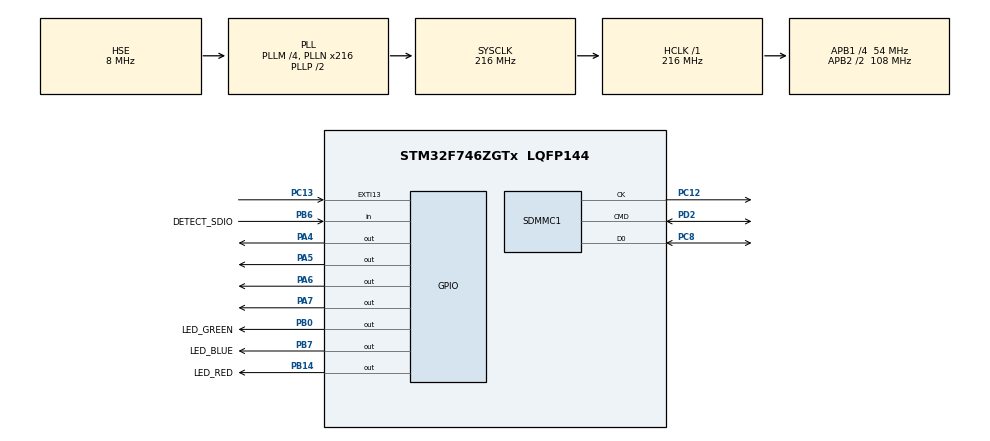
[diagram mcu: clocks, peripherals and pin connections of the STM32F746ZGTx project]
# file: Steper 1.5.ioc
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CORTEX_M7.CPU_DCache=Enabled
CORTEX_M7.CPU_ICache=Enabled
FATFS.BSP.number=1
FATFS0.BSP.STBoard=false
FATFS0.BSP.api=Unknown
FATFS0.BSP.i2caddr=0
FATFS0.BSP.instance=PB6
FATFS0.BSP.ip=GPIO
FATFS0.BSP.mode=Input
FATFS0.BSP.name=Detect_SDIO
FATFS0.BSP.solution=PB6
Mcu.Family=STM32F7
Mcu.Name=STM32F746ZGTx
Mcu.Package=LQFP144
NVIC.EXTI15_10_IRQn=true\:0\:0\:false\:false\:true\:true\:true
NVIC.PriorityGroup=NVIC_PRIORITYGROUP_4
PA13.Mode=Serial_Wire
PA13.Signal=SYS_JTMS-SWDIO
PA14.Mode=Serial_Wire
PA14.Signal=SYS_JTCK-SWCLK
PA4.Signal=GPIO_Output
PA5.Signal=GPIO_Output
PA6.Signal=GPIO_Output
PA7.Signal=GPIO_Output
PB0.GPIO_Label=LED_GREEN
PB0.Signal=GPIO_Output
PB14.GPIO_Label=LED_RED
PB14.Signal=GPIO_Output
PB6.GPIO_Label=DETECT_SDIO
PB6.Signal=GPIO_Input
PB7.GPIO_Label=LED_BLUE
PB7.Signal=GPIO_Output
PC12.Mode=SD_1_bit
PC12.Signal=SDMMC1_CK
PC13.GPIO_ModeDefaultEXTI=GPIO_MODE_IT_RISING_FALLING
PC13.Signal=GPXTI13
PC8.Mode=SD_1_bit
PC8.Signal=SDMMC1_D0
PD2.Mode=SD_1_bit
PD2.Signal=SDMMC1_CMD
PH0/OSC_IN.Mode=HSE-External-Oscillator
PH0/OSC_IN.Signal=RCC_OSC_IN
PH1/OSC_OUT.Mode=HSE-External-Oscillator
PH1/OSC_OUT.Signal=RCC_OSC_OUT
ProjectManager.HeapSize=0x200
ProjectManager.StackSize=0x400
ProjectManager.TargetToolchain=MDK-ARM V5.27
RCC.AHBFreq_Value=216000000
RCC.APB1CLKDivider=RCC_HCLK_DIV4
RCC.APB1Freq_Value=54000000
RCC.APB1TimFreq_Value=108000000
RCC.APB2CLKDivider=RCC_HCLK_DIV2
RCC.APB2Freq_Value=108000000
RCC.APB2TimFreq_Value=216000000
RCC.CortexFreq_Value=216000000
RCC.HCLKFreq_Value=216000000
RCC.HSE_VALUE=8000000
RCC.HSI_VALUE=16000000
RCC.LSE_VALUE=32768
RCC.PLLM=4
RCC.PLLN=216
RCC.PLLQ=9
RCC.PLLSourceVirtual=RCC_PLLSOURCE_HSE
RCC.SDMMCClockSelection=RCC_SDMMC1CLKSOURCE_CLK48
RCC.SYSCLKFreq_VALUE=216000000
RCC.SYSCLKSource=RCC_SYSCLKSOURCE_PLLCLK
RCC.USBFreq_Value=48000000
RCC.VCOOutputFreq_Value=432000000
TIM1.Period=0xFFFF-1
TIM1.Prescaler=215
VP_FATFS_VS_SDIO.Mode=SDIO
VP_TIM1_VS_ClockSourceINT.Mode=Internal
board=custom

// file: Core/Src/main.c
/* USER CODE BEGIN Header */
/**
  ******************************************************************************
  * @file           : main.c
  * @brief          : Main program body
  ******************************************************************************
  * @attention
  *
  * <h2><center>&copy; Copyright (c) 2020 STMicroelectronics.
  * All rights reserved.</center></h2>
  *
  * This software component is licensed by ST under Ultimate Liberty license
  * SLA0044, the "License"; You may not use this file except in compliance with
  * the License. You may obtain a copy of the License at:
  *                             www.st.com/SLA0044
  *
  ******************************************************************************

	IN stm32f7xx_ll_sdmmc.c line 318 changed.
  */
/* USER CODE END Header */
#include "main.h"
#include "fatfs.h"
#include "stdio.h"
#include "stdlib.h"

/* USER CODE BEGIN PD */
#define BUFFSIZE       250
#define PROCESSSIZE    50
#define ReadBuffSize   10000
/* USER CODE END PD */

SD_HandleTypeDef hsd1;

TIM_HandleTypeDef htim1;

/* USER CODE BEGIN PV */
FATFS MyFatfs;
FIL MyFile1, MyFile2;
FRESULT FR1, FR2 ,FR3;
UINT ByteCount;

int Start = 1 ,UserKey = 0, j = 0;
int EndReadStep = 0, LoopStepEnd = 48, ProcessStep, ProcessIND, BUFFIND, EndProcessStep, i;

uint8_t BUFF[100000] = {5}, Process[25000] = {5}, ReadBuff[25000] = {5}, GetSize[2] = {5}, FileSize, ReadStep, LoopStep;
uint32_t OFS1 = 0, OFS2 = 0;
/* USER CODE END PV */

void SystemClock_Config(void);
static void MX_GPIO_Init(void);
static void MX_SDMMC1_SD_Init(void);
static void MX_TIM1_Init(void);
/* USER CODE BEGIN PFP */
void delay_us(uint16_t us);
/* USER CODE END PFP */

int main(void)
{

  /* Enable I-Cache---------------------------------------------------------*/
  SCB_EnableICache();

  /* Enable D-Cache---------------------------------------------------------*/
  SCB_EnableDCache();

  /* MCU Configuration--------------------------------------------------------*/

  /* Reset of all peripherals, Initializes the Flash interface and the Systick. */
  HAL_Init();

  /* Configure the system clock */
  SystemClock_Config();

  /* Initialize all configured peripherals */
  MX_GPIO_Init();
  MX_SDMMC1_SD_Init();
  MX_FATFS_Init();
  MX_TIM1_Init();
  /* USER CODE BEGIN 2 */
	HAL_SuspendTick();
  HAL_TIM_Base_Start(&htim1);

	HAL_SD_Init(&hsd1);

  FR3 = f_mount(&MyFatfs, SDPath, 0);

	FR1 = f_open(&MyFile1, "CODE.txt", FA_READ | FA_OPEN_ALWAYS);
	FR2 = f_open(&MyFile2, "STM32.txt", FA_WRITE | FA_CREATE_ALWAYS);
	if (FR1 == FR_OK) HAL_GPIO_WritePin(GPIOB, LED_GREEN_Pin, GPIO_PIN_SET);

	OFS1 = 0;
	OFS2 = 0;

	f_lseek(&MyFile1, OFS1);
	f_read(&MyFile1, GetSize, sizeof(GetSize), &ByteCount);
	OFS1 += 2;

	GetSize[0] = GetSize[0] - 48;
	GetSize[1] = GetSize[1] - 48;
	FileSize = 10*GetSize[0] + GetSize[1] - 1;

	for (ReadStep = 0; ReadStep <= FileSize; ReadStep++)
	{
		HAL_GPIO_TogglePin(GPIOB, LED_BLUE_Pin);
	  f_lseek(&MyFile1, OFS1);
	  f_read(&MyFile1, BUFF, sizeof(BUFF), &ByteCount);
	  OFS1 += 100000;

	  ProcessIND = 0;
		BUFFIND = 0;

	  for (ProcessStep = 0; ProcessStep <= 24999; ProcessStep++)
	  {
	    if (BUFF[BUFFIND] == 49 && BUFF[BUFFIND + 1] == 48 && BUFF[BUFFIND+ 2] == 49 && BUFF[BUFFIND + 3] == 48)
	    {
		    Process[ProcessIND] = 1;
		  	ProcessIND = ProcessIND + 1;
	      BUFFIND = BUFFIND + 4;
      }

	    if (BUFF[BUFFIND] == 48 && BUFF[BUFFIND + 1] == 49 && BUFF[BUFFIND + 2] == 48 && BUFF[BUFFIND + 3] == 49)
	    {
	    	Process[ProcessIND] = 5;
		  	ProcessIND = ProcessIND + 1;
	      BUFFIND = BUFFIND + 4;
      }

	    if (BUFF[BUFFIND] == 48 && BUFF[BUFFIND + 1] == 48 && BUFF[BUFFIND + 2] == 48 && BUFF[BUFFIND + 3] == 48)
	    {
	    	Process[ProcessIND] = 9;
		  	ProcessIND = ProcessIND + 1;
	      BUFFIND = BUFFIND + 4;
	    }

	    if (BUFF[BUFFIND] == 49 && BUFF[BUFFIND + 1] == 48 && BUFF[BUFFIND + 2] == 48 && BUFF[BUFFIND + 3] == 49)
	    {
	    	Process[ProcessIND] = 2;
		  	ProcessIND = ProcessIND + 1;
	      BUFFIND = BUFFIND + 4;
	    }

	    if (BUFF[BUFFIND] == 49 && BUFF[BUFFIND + 1] == 48 && BUFF[BUFFIND + 2] == 48 && BUFF[BUFFIND + 3] == 48)
	    {
	    	Process[ProcessIND] = 3;
        ProcessIND = ProcessIND + 1;
	      BUFFIND = BUFFIND + 4;
	    }

	    if (BUFF[BUFFIND] == 48 && BUFF[BUFFIND + 1] == 49 && BUFF[BUFFIND + 2] == 49 && BUFF[BUFFIND + 3] == 48)
	    {
	    	Process[ProcessIND] = 4;
		  	ProcessIND = ProcessIND + 1;
	      BUFFIND = BUFFIND + 4;
	    }

	    if (BUFF[BUFFIND] == 48 && BUFF[BUFFIND + 1] == 49 && BUFF[BUFFIND + 2] == 48 && BUFF[BUFFIND + 3] == 48)
	    {
	    	Process[ProcessIND] = 6;
		  	ProcessIND = ProcessIND + 1;
	      BUFFIND = BUFFIND + 4;
      }

	    if (BUFF[BUFFIND] == 48 && BUFF[BUFFIND + 1] == 48 && BUFF[BUFFIND + 2] == 49 && BUFF[BUFFIND + 3] == 48)
	    {
	    	Process[ProcessIND] = 7;
		  	ProcessIND = ProcessIND + 1;
	      BUFFIND = BUFFIND + 4;
	    }

	    if (BUFF[BUFFIND] == 48 && BUFF[BUFFIND + 1] == 48 && BUFF[BUFFIND + 2] == 48 && BUFF[BUFFIND + 3] == 49)
	    {
	    	Process[ProcessIND] = 8;
		  	ProcessIND = ProcessIND + 1;
	      BUFFIND = BUFFIND + 4;
	    }

			//if (BUFF[BUFFIND] != 48 || BUFF[BUFFIND] != 49)
			//{
			//	Process[ProcessIND] = 9;
		  //	ProcessIND = ProcessIND + 1;
	     // BUFFIND = BUFFIND + 4;
			//}
    }

	  f_lseek(&MyFile2, OFS2);
	  f_write(&MyFile2, Process, sizeof(Process), &ByteCount);
	  OFS2 += 25000;
  }

	f_close(&MyFile1);
	f_close(&MyFile2);
	HAL_GPIO_WritePin(GPIOB, LED_RED_Pin, GPIO_PIN_SET);
	delay_us(60000);

	FR2 = f_open(&MyFile2, "STM32.txt", FA_READ | FA_OPEN_ALWAYS);
	OFS2 = 0;
  /* USER CODE END 2 */

  /* Infinite loop */
  /* USER CODE BEGIN WHILE */
  while (1)
	{
		if (Start)
		{
		  for (LoopStep = 0; LoopStep <= FileSize; LoopStep++)
		  {
			  f_lseek(&MyFile2, OFS2);
		  	f_read(&MyFile2, ReadBuff, sizeof(ReadBuff), &ByteCount);
		  	OFS2 = OFS2 + 25000;

		  	for (i = 0; i <= 24999; i++)
			  {
		      switch (ReadBuff[i])
          {
            case 1:
		          GPIOA->BSRR = GPIO_PIN_5;                                          // 5
	            GPIOA->BSRR = GPIO_PIN_7;								 													 // 7
		          GPIOA->BSRR = GPIO_PIN_4;																					 // 4
		          GPIOA->BSRR = GPIO_PIN_6;																					 // 6
		          delay_us(500);
	            GPIOA->BSRR = (uint32_t)GPIO_PIN_4 << 16;
	            GPIOA->BSRR = (uint32_t)GPIO_PIN_6 << 16;
              delay_us(500);
        	    break;
       	    case 2:
		          GPIOA->BSRR = GPIO_PIN_5;                                          // 5
		          GPIOA->BSRR = (uint32_t)GPIO_PIN_7 << 16;													 // 7
		          GPIOA->BSRR = GPIO_PIN_4;																					 // 4
		          GPIOA->BSRR = GPIO_PIN_6;																					 // 6
		          delay_us(500);
		          GPIOA->BSRR = (uint32_t)GPIO_PIN_4 << 16;
	     	      GPIOA->BSRR = (uint32_t)GPIO_PIN_6 << 16;
	            delay_us(500);
              break;
    	      case 3:
		          GPIOA->BSRR = GPIO_PIN_5;                                          // 5
	            GPIOA->BSRR = GPIO_PIN_7;																					 // 7
	            GPIOA->BSRR = GPIO_PIN_4;																					 // 4
		          GPIOA->BSRR = GPIO_PIN_6;																					 // 6
		          delay_us(500);
		          GPIOA->BSRR = (uint32_t)GPIO_PIN_4 << 16;
		          delay_us(500);
		          break;
	          case 4:
	            GPIOA->BSRR = (uint32_t)GPIO_PIN_5 << 16;                          // 5
	            GPIOA->BSRR = GPIO_PIN_7;																					 // 7
		          GPIOA->BSRR = GPIO_PIN_4;																					 // 4
	            GPIOA->BSRR = GPIO_PIN_6;																					 // 6
		          delay_us(500);
		          GPIOA->BSRR = (uint32_t)GPIO_PIN_4 << 16;
		          GPIOA->BSRR = (uint32_t)GPIO_PIN_6 << 16;
		          delay_us(500);
		          break;
	          case 5:
	            GPIOA->BSRR = (uint32_t)GPIO_PIN_5 << 16;                          // 5
	            GPIOA->BSRR = (uint32_t)GPIO_PIN_7 << 16;													 // 7
	            GPIOA->BSRR = GPIO_PIN_4;																					 // 4
	      	    GPIOA->BSRR = GPIO_PIN_6;																					 // 6
		          delay_us(500);
		          GPIOA->BSRR = (uint32_t)GPIO_PIN_4 << 16;
		          GPIOA->BSRR = (uint32_t)GPIO_PIN_6 << 16;
		          delay_us(500);
		          break;
	          case 6:
		          GPIOA->BSRR = (uint32_t)GPIO_PIN_5 << 16;                          // 5
		          GPIOA->BSRR = GPIO_PIN_7;																					 // 7
		          GPIOA->BSRR = GPIO_PIN_4;																					 // 4
		          GPIOA->BSRR = GPIO_PIN_6;																					 // 6
		          delay_us(500);
		          GPIOA->BSRR = (uint32_t)GPIO_PIN_4 << 16;
		          delay_us(500);
		          break;
	    	    case 7:
		          GPIOA->BSRR = GPIO_PIN_5;                                          // 5
		          GPIOA->BSRR = GPIO_PIN_7;																					 // 7
		          GPIOA->BSRR = GPIO_PIN_4;																					 // 4
		          GPIOA->BSRR = GPIO_PIN_6;																					 // 6
		          delay_us(500);
		          GPIOA->BSRR = (uint32_t)GPIO_PIN_6 << 16;
		          delay_us(500);
	   	        break;
	         case 8:
		         GPIOA->BSRR = GPIO_PIN_5;                                           // 5
		         GPIOA->BSRR = (uint32_t)GPIO_PIN_7 << 16;				  								 // 7
		         GPIOA->BSRR = GPIO_PIN_4;																					 // 4
		         GPIOA->BSRR = GPIO_PIN_6;																					 // 6
		         delay_us(500);
		         GPIOA->BSRR = (uint32_t)GPIO_PIN_6 << 16;
		         delay_us(500);
		         break;
	         case 9:
		         GPIOA->BSRR = GPIO_PIN_5;                                           // 5
		         GPIOA->BSRR = GPIO_PIN_7;																					 // 7
		         GPIOA->BSRR = GPIO_PIN_4;																					 // 4
		         GPIOA->BSRR = GPIO_PIN_6;																					 // 6
		         delay_us(1000);
		         break;
          }
		    }
		  }

		  HAL_GPIO_WritePin(GPIOB, LED_RED_Pin, GPIO_PIN_RESET);
			Start = 0;
	  }

    /* USER CODE END WHILE */

  }
}

void SystemClock_Config(void)
{
  RCC_OscInitTypeDef RCC_OscInitStruct = {0};
  RCC_ClkInitTypeDef RCC_ClkInitStruct = {0};
  RCC_PeriphCLKInitTypeDef PeriphClkInitStruct = {0};

  /** Configure the main internal regulator output voltage
  */
  __HAL_RCC_PWR_CLK_ENABLE();
  __HAL_PWR_VOLTAGESCALING_CONFIG(PWR_REGULATOR_VOLTAGE_SCALE1);
  /** Initializes the RCC Oscillators according to the specified parameters
  * in the RCC_OscInitTypeDef structure.
  */
  RCC_OscInitStruct.OscillatorType = RCC_OSCILLATORTYPE_HSE;
  RCC_OscInitStruct.HSEState = RCC_HSE_ON;
  RCC_OscInitStruct.PLL.PLLState = RCC_PLL_ON;
  RCC_OscInitStruct.PLL.PLLSource = RCC_PLLSOURCE_HSE;
  RCC_OscInitStruct.PLL.PLLM = 4;
  RCC_OscInitStruct.PLL.PLLN = 216;
  RCC_OscInitStruct.PLL.PLLP = RCC_PLLP_DIV2;
  RCC_OscInitStruct.PLL.PLLQ = 9;
  if (HAL_RCC_OscConfig(&RCC_OscInitStruct) != HAL_OK)
  {
    Error_Handler();
  }
  /** Activate the Over-Drive mode
  */
  if (HAL_PWREx_EnableOverDrive() != HAL_OK)
  {
    Error_Handler();
  }
  /** Initializes the CPU, AHB and APB buses clocks
  */
  RCC_ClkInitStruct.ClockType = RCC_CLOCKTYPE_HCLK|RCC_CLOCKTYPE_SYSCLK
                              |RCC_CLOCKTYPE_PCLK1|RCC_CLOCKTYPE_PCLK2;
  RCC_ClkInitStruct.SYSCLKSource = RCC_SYSCLKSOURCE_PLLCLK;
  RCC_ClkInitStruct.AHBCLKDivider = RCC_SYSCLK_DIV1;
  RCC_ClkInitStruct.APB1CLKDivider = RCC_HCLK_DIV4;
  RCC_ClkInitStruct.APB2CLKDivider = RCC_HCLK_DIV2;

  if (HAL_RCC_ClockConfig(&RCC_ClkInitStruct, FLASH_LATENCY_7) != HAL_OK)
  {
    Error_Handler();
  }
  PeriphClkInitStruct.PeriphClockSelection = RCC_PERIPHCLK_SDMMC1|RCC_PERIPHCLK_CLK48;
  PeriphClkInitStruct.Clk48ClockSelection = RCC_CLK48SOURCE_PLL;
  PeriphClkInitStruct.Sdmmc1ClockSelection = RCC_SDMMC1CLKSOURCE_CLK48;
  if (HAL_RCCEx_PeriphCLKConfig(&PeriphClkInitStruct) != HAL_OK)
  {
    Error_Handler();
  }
}

static void MX_SDMMC1_SD_Init(void)
{

  hsd1.Instance = SDMMC1;
  hsd1.Init.ClockEdge = SDMMC_CLOCK_EDGE_RISING;
  hsd1.Init.ClockBypass = SDMMC_CLOCK_BYPASS_DISABLE;
  hsd1.Init.ClockPowerSave = SDMMC_CLOCK_POWER_SAVE_DISABLE;
  hsd1.Init.BusWide = SDMMC_BUS_WIDE_1B;
  hsd1.Init.HardwareFlowControl = SDMMC_HARDWARE_FLOW_CONTROL_DISABLE;
  hsd1.Init.ClockDiv = 0;

}

static void MX_TIM1_Init(void)
{

  TIM_ClockConfigTypeDef sClockSourceConfig = {0};
  TIM_MasterConfigTypeDef sMasterConfig = {0};

  htim1.Instance = TIM1;
  htim1.Init.Prescaler = 215;
  htim1.Init.CounterMode = TIM_COUNTERMODE_UP;
  htim1.Init.Period = 0xFFFF-1;
  htim1.Init.ClockDivision = TIM_CLOCKDIVISION_DIV1;
  htim1.Init.RepetitionCounter = 0;
  htim1.Init.AutoReloadPreload = TIM_AUTORELOAD_PRELOAD_DISABLE;
  if (HAL_TIM_Base_Init(&htim1) != HAL_OK)
  {
    Error_Handler();
  }
  sClockSourceConfig.ClockSource = TIM_CLOCKSOURCE_INTERNAL;
  if (HAL_TIM_ConfigClockSource(&htim1, &sClockSourceConfig) != HAL_OK)
  {
    Error_Handler();
  }
  sMasterConfig.MasterOutputTrigger = TIM_TRGO_RESET;
  sMasterConfig.MasterOutputTrigger2 = TIM_TRGO2_RESET;
  sMasterConfig.MasterSlaveMode = TIM_MASTERSLAVEMODE_DISABLE;
  if (HAL_TIMEx_MasterConfigSynchronization(&htim1, &sMasterConfig) != HAL_OK)
  {
    Error_Handler();
  }

}

static void MX_GPIO_Init(void)
{
  GPIO_InitTypeDef GPIO_InitStruct = {0};

  /* GPIO Ports Clock Enable */
  __HAL_RCC_GPIOC_CLK_ENABLE();
  __HAL_RCC_GPIOH_CLK_ENABLE();
  __HAL_RCC_GPIOA_CLK_ENABLE();
  __HAL_RCC_GPIOB_CLK_ENABLE();
  __HAL_RCC_GPIOD_CLK_ENABLE();

  /*Configure GPIO pin Output Level */
  HAL_GPIO_WritePin(GPIOA, GPIO_PIN_4|GPIO_PIN_5|GPIO_PIN_6|GPIO_PIN_7, GPIO_PIN_RESET);

  /*Configure GPIO pin Output Level */
  HAL_GPIO_WritePin(GPIOB, LED_GREEN_Pin|LED_RED_Pin|LED_BLUE_Pin, GPIO_PIN_RESET);

  /*Configure GPIO pin : PC13 */
  GPIO_InitStruct.Pin = GPIO_PIN_13;
  GPIO_InitStruct.Mode = GPIO_MODE_IT_RISING_FALLING;
  GPIO_InitStruct.Pull = GPIO_NOPULL;
  HAL_GPIO_Init(GPIOC, &GPIO_InitStruct);

  /*Configure GPIO pins : PA4 PA5 PA6 PA7 */
  GPIO_InitStruct.Pin = GPIO_PIN_4|GPIO_PIN_5|GPIO_PIN_6|GPIO_PIN_7;
  GPIO_InitStruct.Mode = GPIO_MODE_OUTPUT_PP;
  GPIO_InitStruct.Pull = GPIO_NOPULL;
  GPIO_InitStruct.Speed = GPIO_SPEED_FREQ_LOW;
  HAL_GPIO_Init(GPIOA, &GPIO_InitStruct);

  /*Configure GPIO pins : LED_GREEN_Pin LED_RED_Pin LED_BLUE_Pin */
  GPIO_InitStruct.Pin = LED_GREEN_Pin|LED_RED_Pin|LED_BLUE_Pin;
  GPIO_InitStruct.Mode = GPIO_MODE_OUTPUT_PP;
  GPIO_InitStruct.Pull = GPIO_NOPULL;
  GPIO_InitStruct.Speed = GPIO_SPEED_FREQ_LOW;
  HAL_GPIO_Init(GPIOB, &GPIO_InitStruct);

  /*Configure GPIO pin : DETECT_SDIO_Pin */
  GPIO_InitStruct.Pin = DETECT_SDIO_Pin;
  GPIO_InitStruct.Mode = GPIO_MODE_INPUT;
  GPIO_InitStruct.Pull = GPIO_NOPULL;
  HAL_GPIO_Init(DETECT_SDIO_GPIO_Port, &GPIO_InitStruct);

  /* EXTI interrupt init*/
  HAL_NVIC_SetPriority(EXTI15_10_IRQn, 0, 0);
  HAL_NVIC_EnableIRQ(EXTI15_10_IRQn);

}

/* USER CODE BEGIN 4 */
void delay_us(uint16_t us)
{
	__HAL_TIM_SET_COUNTER(&htim1 ,0);
	while (__HAL_TIM_GET_COUNTER(&htim1) < us)
	{

	}
}
/* USER CODE END 4 */

void Error_Handler(void)
{
}

/************************ (C) COPYRIGHT STMicroelectronics *****END OF FILE****/
